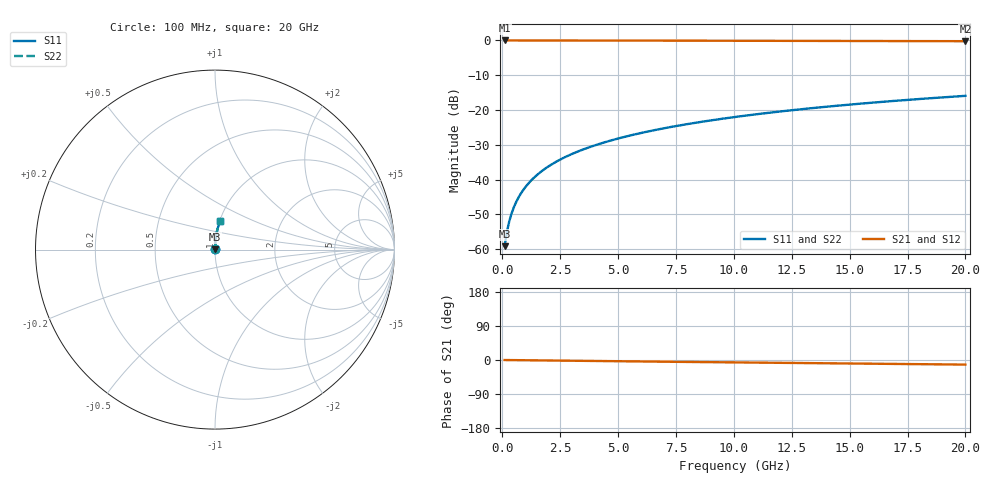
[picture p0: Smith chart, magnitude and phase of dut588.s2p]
! Touchstone file exported from HFSS 2024.1.0
!  File:  C:/UserFiles/LocalFiles/RDL_TSV_Batchsim/temp_RDL_bottom_588_1779690943.aedt
!  Generated:  02:38:17 PM May 25, 2026
!  Design:  RDL_bottom
!  Project:  temp_RDL_bottom_588_1779690943
!  Setup:  Setup1
!  Solution:  Sweep
! Variables:
!  dtsv = 10.80580581um
!  hbump = 3um
!  htsv = 81.23um
!  ldown = 120.77um
!  lrdl = 100um
!  p = 40
!  p1 = 51.61um
!  rhole = 1um
!  t = 450um
!  tdown = 4.69um
!  trdl = 3.915915916um
!  wdown = 14.52um
!  wrdl = 20um
# GHz S MA R 50.000000
! Terminal data exported
! Port[1] = RDL1_T1
! Port[2] = RDL1_T2
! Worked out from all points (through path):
!   200 points, 100 MHz to 20 GHz, reference 50 ohm
!   highest |S21| = -0.01 dB at 100 MHz (marker M1); lowest = -0.2 dB at 20 GHz (marker M2)
!   group delay of S21, straight-line fit = 1.68 ps
!   lowest |S11| = -59.1 dB at 100 MHz (marker M3), VSWR 1.00, Z = 50.1 + j0.0807 ohm
!   |S11| at or under -10 dB: start of sweep to end of sweep
!   |S22| runs from -59.1 to -15.9 dB; largest |S21 - S12| = 2.7e-15
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0.1  0.001108 46.6  0.9992 -0.1  0.9992 -0.1  0.001108 46.6
! Gamma 0 0 0 0
! Port Impedance 50 0 50 0
0.2  0.001781 63.9  0.9992 -0.1  0.9992 -0.1  0.001781 63.9
0.3  0.002515 71.3  0.9992 -0.2  0.9992 -0.2  0.002515 71.3
0.4  0.003265 75.4  0.9992 -0.3  0.9992 -0.3  0.003265 75.4
0.5  0.00402 77.9  0.9991 -0.3  0.9991 -0.3  0.00402 77.9
0.7  0.005541 81.0  0.9991 -0.5  0.9991 -0.5  0.005541 81.0
0.8  0.006305 82.0  0.999 -0.5  0.999 -0.5  0.006305 82.0
1  0.007838 83.4  0.999 -0.7  0.999 -0.7  0.007838 83.4
1.2  0.009377 84.3  0.9989 -0.8  0.9989 -0.8  0.009377 84.3
1.4  0.01092 85.0  0.9988 -0.9  0.9988 -0.9  0.01092 85.0
1.7  0.01324 85.7  0.9987 -1.1  0.9987 -1.1  0.01324 85.7
2  0.01556 86.1  0.9985 -1.3  0.9985 -1.3  0.01556 86.1
2.7  0.02099 86.7  0.9981 -1.8  0.9981 -1.8  0.02099 86.7
3.5  0.02723 87.0  0.9975 -2.3  0.9975 -2.3  0.02723 87.0
4.2  0.0327 87.1  0.9968 -2.8  0.9968 -2.8  0.0327 87.1
5  0.03899 87.0  0.996 -3.3  0.996 -3.3  0.03899 87.0
6.8  0.05328 86.7  0.9939 -4.4  0.9939 -4.4  0.05328 86.7
8.3  0.06532 86.2  0.992 -5.3  0.992 -5.3  0.06532 86.2
10.1  0.07989 85.4  0.9896 -6.4  0.9896 -6.4  0.0799 85.4
13.4  0.1068 83.6  0.985 -8.3  0.985 -8.3  0.1068 83.7
16.7  0.1335 81.7  0.9802 -10.3  0.9802 -10.3  0.1335 81.7
20  0.16 79.7  0.975 -12.1  0.975 -12.1  0.16 79.7
